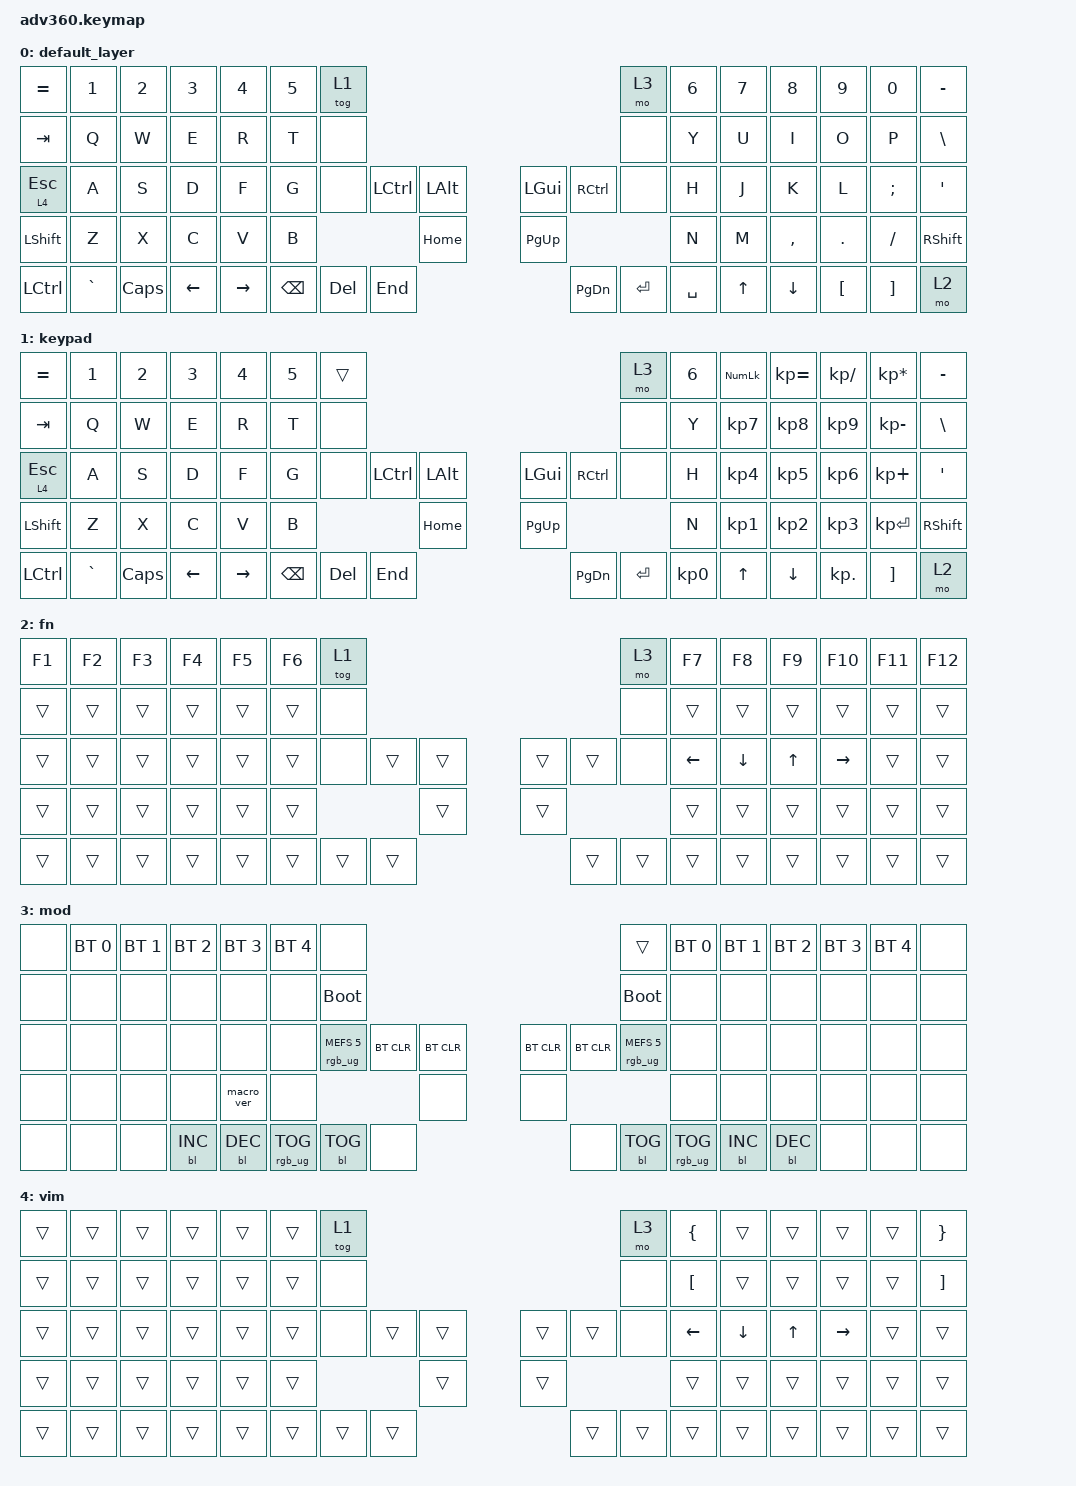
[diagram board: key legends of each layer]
#include <behaviors.dtsi>
#include <dt-bindings/zmk/keys.h>
#include <dt-bindings/zmk/bt.h>
#include <dt-bindings/zmk/rgb.h>
#include <dt-bindings/zmk/backlight.h>

/ {
    behaviors {
      #include "macros.dtsi"
      #include "version.dtsi"
      #ifndef VERSION_MACRO
      macro_ver: macro_ver {
        compatible = "zmk,behavior-macro";
        label = "macro_version";
        #binding-cells = <0>;
        bindings = <&kp RET>;
      };
      #endif

      hm: homerow_mods {
          compatible = "zmk,behavior-hold-tap";
          label = "HOMEROW_MODS";
          #binding-cells = <2>;
          tapping-term-ms = <200>;
          quick_tap_ms = <175>;
          flavor = "tap-preferred";
          bindings = <&kp>, <&kp>;
      };
    };

  keymap {
    compatible = "zmk,keymap";

    default_layer {
      bindings = <
        &kp EQUAL    &kp N1    &kp N2   &kp N3   &kp N4     &kp N5 &tog 1                                                                       &mo 3 &kp N6 &kp N7 &kp N8    &kp N9   &kp N0   &kp MINUS
        &kp TAB      &kp Q     &kp W    &kp E    &kp R      &kp T  &none                                                                        &none &kp Y  &kp U  &kp I     &kp O    &kp P    &kp BSLH
        &lt 4 ESC    &kp A     &kp S    &kp D    &kp F      &kp G  &none           &kp LCTRL &kp LALT             &kp LGUI  &kp RCTRL           &none &kp H  &kp J  &kp K     &kp L    &kp SEMI &kp SQT
        &kp LSHFT    &kp Z     &kp X    &kp C    &kp V      &kp B                            &kp HOME             &kp PG_UP                           &kp N  &kp M  &kp COMMA &kp DOT  &kp FSLH &kp RSHFT
        &kp LCTRL    &kp GRAVE &kp CAPS &kp LEFT &kp RIGHT                &kp BSPC &kp DEL   &kp END              &kp PG_DN &kp ENTER &kp SPACE              &kp UP &kp DOWN  &kp LBKT &kp RBKT &mo 2
      >;
    };
    keypad {
      bindings = <
        &kp EQUAL    &kp N1    &kp N2   &kp N3   &kp N4     &kp N5 &trans                                                                       &mo 3 &kp N6 &kp KP_NUM &kp KP_EQUAL &kp KP_DIVIDE &kp KP_MULTIPLY &kp MINUS
        &kp TAB      &kp Q     &kp W    &kp E    &kp R      &kp T  &none                                                                        &none &kp Y  &kp KP_N7  &kp KP_N8    &kp KP_N9     &kp KP_MINUS    &kp BSLH
        &lt 4 ESC    &kp A     &kp S    &kp D    &kp F      &kp G  &none           &kp LCTRL &kp LALT             &kp LGUI  &kp RCTRL           &none &kp H  &kp KP_N4  &kp KP_N5    &kp KP_N6     &kp KP_PLUS     &kp SQT
        &kp LSHFT    &kp Z     &kp X    &kp C    &kp V      &kp B                            &kp HOME             &kp PG_UP                           &kp N  &kp KP_N1  &kp KP_N2    &kp KP_N3     &kp KP_ENTER    &kp RSHFT
        &kp LCTRL    &kp GRAVE &kp CAPS &kp LEFT &kp RIGHT                &kp BSPC &kp DEL   &kp END              &kp PG_DN &kp ENTER &kp KP_N0              &kp UP     &kp DOWN     &kp KP_DOT    &kp RBKT        &mo 2
      >;
    };
    fn {
      bindings = <
        &kp F1 &kp F2 &kp F3 &kp F4 &kp F5 &kp F6 &tog 1                                                       &mo 3 &kp F7   &kp F8    &kp F9 &kp F10   &kp F11 &kp F12
        &trans &trans &trans &trans &trans &trans  &none                                                       &none &trans   &trans    &trans &trans    &trans  &trans
        &trans &trans &trans &trans &trans &trans  &none        &trans &trans             &trans &trans        &none &kp LEFT &kp DOWN  &kp UP &kp RIGHT &trans  &trans
        &trans &trans &trans &trans &trans &trans                      &trans             &trans                     &trans   &trans    &trans &trans    &trans  &trans
        &trans &trans &trans &trans &trans               &trans &trans &trans             &trans &trans &trans                &trans    &trans &trans    &trans  &trans
      >;
    };
    mod {
      bindings = <
        &none &bt BT_SEL 0 &bt BT_SEL 1 &bt BT_SEL 2 &bt BT_SEL 3 &bt BT_SEL 4 &none                                                                                                          &trans                 &bt BT_SEL 0 &bt BT_SEL 1 &bt BT_SEL 2 &bt BT_SEL 3 &bt BT_SEL 4 &none
        &none &none        &none        &none        &none        &none        &bootloader                                                                                                    &bootloader            &none        &none        &none        &none        &none        &none
        &none &none        &none        &none        &none        &none        &rgb_ug RGB_MEFS_CMD 5                 &bt BT_CLR &bt BT_CLR             &bt BT_CLR &bt BT_CLR                 &rgb_ug RGB_MEFS_CMD 5 &none        &none        &none        &none        &none        &none
        &none &none        &none        &none        &macro_ver   &none                                                          &none                  &none                                                        &none        &none        &none        &none        &none        &none
        &none &none        &none        &bl BL_INC   &bl BL_DEC                                       &rgb_ug RGB_TOG &bl BL_TOG &none                  &none      &bl BL_TOG &rgb_ug RGB_TOG                                     &bl BL_INC   &bl BL_DEC   &none        &none        &none
      >;
    };
    vim {
      bindings = <
        &trans &trans &trans &trans &trans &trans &tog 1                                                       &mo 3 &kp LBRC &trans    &trans &trans    &trans  &kp RBRC
        &trans &trans &trans &trans &trans &trans  &none                                                       &none &kp LBKT &trans    &trans &trans    &trans  &kp RBKT
        &trans &trans &trans &trans &trans &trans  &none        &trans &trans             &trans &trans        &none &kp LEFT &kp DOWN  &kp UP &kp RIGHT &trans  &trans
        &trans &trans &trans &trans &trans &trans                      &trans             &trans                     &trans   &trans    &trans &trans    &trans  &trans
        &trans &trans &trans &trans &trans               &trans &trans &trans             &trans &trans &trans                &trans    &trans &trans    &trans  &trans
      >;
    };
  };
};
